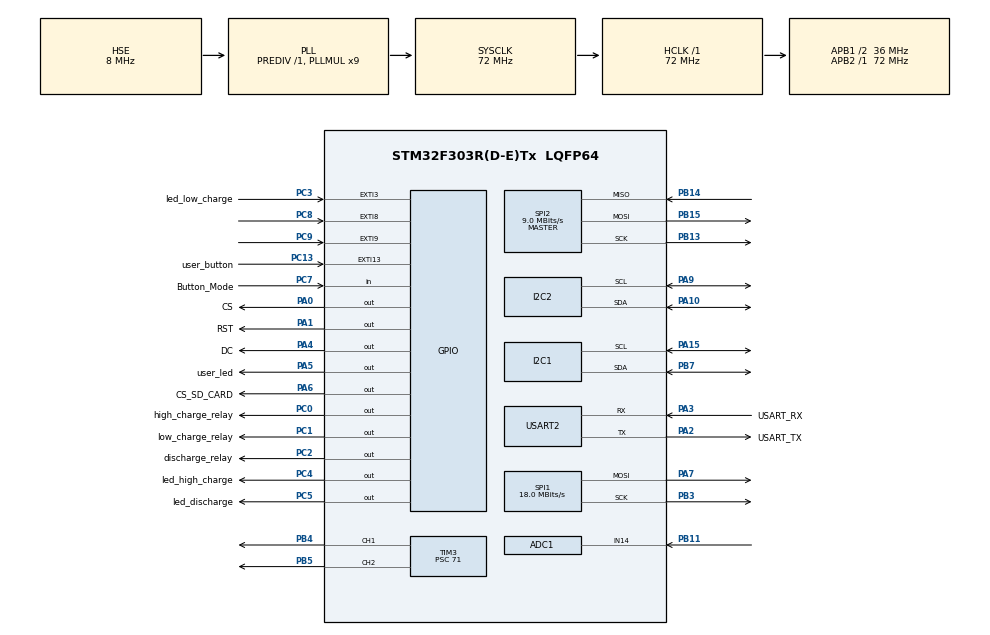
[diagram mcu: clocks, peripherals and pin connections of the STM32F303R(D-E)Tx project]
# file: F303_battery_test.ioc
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ADC1.Channel-0\#ChannelRegularConversion=ADC_CHANNEL_14
ADC1.ContinuousConvMode=ENABLE
ADC1.NbrOfConversionFlag=1
ADC1.Offset-0\#ChannelRegularConversion=0
ADC1.OffsetNumber-0\#ChannelRegularConversion=ADC_OFFSET_NONE
ADC1.Rank-0\#ChannelRegularConversion=1
ADC1.SamplingTime-0\#ChannelRegularConversion=ADC_SAMPLETIME_601CYCLES_5
ADC1.SamplingTimeOPAMP-0\#ChannelRegularConversion=ADC_SAMPLETIME_61CYCLES_5
ADC1.master=1
Dma.ADC1.0.Direction=DMA_PERIPH_TO_MEMORY
Dma.ADC1.0.Instance=DMA1_Channel1
Dma.ADC1.0.MemDataAlignment=DMA_MDATAALIGN_HALFWORD
Dma.ADC1.0.MemInc=DMA_MINC_ENABLE
Dma.ADC1.0.Mode=DMA_CIRCULAR
Dma.ADC1.0.PeriphDataAlignment=DMA_PDATAALIGN_HALFWORD
Dma.ADC1.0.PeriphInc=DMA_PINC_DISABLE
Dma.ADC1.0.Priority=DMA_PRIORITY_LOW
Dma.Request0=ADC1
FATFS._MAX_SS=4096
FATFS._USE_LFN=1
Mcu.Family=STM32F3
Mcu.Name=STM32F303R(D-E)Tx
Mcu.Package=LQFP64
NVIC.DMA1_Channel1_IRQn=true\:0\:0\:false\:false\:true\:false\:true\:true
NVIC.EXTI15_10_IRQn=true\:0\:0\:false\:false\:true\:true\:true\:true
NVIC.EXTI9_5_IRQn=true\:0\:0\:false\:false\:true\:true\:true\:true
NVIC.I2C2_ER_IRQn=true\:0\:0\:false\:false\:true\:true\:true\:true
NVIC.I2C2_EV_IRQn=true\:0\:0\:false\:false\:true\:true\:true\:true
NVIC.PriorityGroup=NVIC_PRIORITYGROUP_0
NVIC.SPI1_IRQn=true\:0\:0\:false\:false\:true\:true\:true\:true
NVIC.SPI2_IRQn=true\:0\:0\:false\:false\:true\:true\:true\:true
NVIC.TIM6_DAC_IRQn=true\:0\:0\:false\:false\:true\:true\:true\:true
NVIC.TIM7_IRQn=true\:0\:0\:false\:false\:true\:true\:true\:true
PA0.GPIO_Label=CS
PA0.Signal=GPIO_Output
PA1.GPIO_Label=RST
PA1.Signal=GPIO_Output
PA10.Mode=I2C
PA10.Signal=I2C2_SDA
PA13.GPIO_Label=TMS
PA13.Mode=Serial_Wire
PA13.Signal=SYS_JTMS-SWDIO
PA14.GPIO_Label=TCK
PA14.Mode=Serial_Wire
PA14.Signal=SYS_JTCK-SWCLK
PA15.Mode=I2C
PA15.Signal=I2C1_SCL
PA2.GPIO_Label=USART_TX
PA2.GPIO_Mode=GPIO_MODE_AF_PP
PA2.GPIO_PuPd=GPIO_NOPULL
PA2.GPIO_Speed=GPIO_SPEED_FREQ_LOW
PA2.Mode=Asynchronous
PA2.Signal=USART2_TX
PA3.GPIO_Label=USART_RX
PA3.GPIO_Mode=GPIO_MODE_AF_PP
PA3.GPIO_PuPd=GPIO_NOPULL
PA3.GPIO_Speed=GPIO_SPEED_FREQ_LOW
PA3.Mode=Asynchronous
PA3.Signal=USART2_RX
PA4.GPIO_Label=DC
PA4.Signal=GPIO_Output
PA5.GPIO_Label=user_led
PA5.GPIO_Mode=GPIO_MODE_OUTPUT_PP
PA5.GPIO_PuPd=GPIO_NOPULL
PA5.GPIO_Speed=GPIO_SPEED_FREQ_LOW
PA5.Signal=GPIO_Output
PA6.GPIO_Label=CS_SD_CARD
PA6.Signal=GPIO_Output
PA7.Mode=TX_Only_Simplex_Unidirect_Master
PA7.Signal=SPI1_MOSI
PA9.Mode=I2C
PA9.Signal=I2C2_SCL
PB11.Mode=IN14-Single-Ended
PB11.Signal=ADC1_IN14
PB13.Mode=Full_Duplex_Master
PB13.Signal=SPI2_SCK
PB14.Mode=Full_Duplex_Master
PB14.Signal=SPI2_MISO
PB15.Mode=Full_Duplex_Master
PB15.Signal=SPI2_MOSI
PB3.Mode=TX_Only_Simplex_Unidirect_Master
PB3.Signal=SPI1_SCK
PB4.Signal=S_TIM3_CH1
PB5.Signal=S_TIM3_CH2
PB7.Mode=I2C
PB7.Signal=I2C1_SDA
PC0.GPIO_Label=high_charge_relay
PC0.Signal=GPIO_Output
PC1.GPIO_Label=low_charge_relay
PC1.Signal=GPIO_Output
PC13.GPIO_Label=user_button
PC13.GPIO_ModeDefaultEXTI=GPIO_MODE_IT_FALLING
PC13.Signal=GPXTI13
PC14-OSC32_IN.Signal=RCC_OSC32_IN
PC15-OSC32_OUT.Signal=RCC_OSC32_OUT
PC2.GPIO_Label=discharge_relay
PC2.Signal=GPIO_Output
PC3.GPIO_Label=led_low_charge
PC3.Signal=GPXTI3
PC4.GPIO_Label=led_high_charge
PC4.Signal=GPIO_Output
PC5.GPIO_Label=led_discharge
PC5.Signal=GPIO_Output
PC7.GPIO_Label=Button_Mode
PC7.GPIO_PuPd=GPIO_PULLUP
PC7.Signal=GPIO_Input
PC8.GPIO_ModeDefaultEXTI=GPIO_MODE_IT_RISING
PC8.Signal=GPXTI8
PC9.GPIO_ModeDefaultEXTI=GPIO_MODE_IT_RISING
PC9.Signal=GPXTI9
PF0-OSC_IN.Mode=HSE-External-Oscillator
PF0-OSC_IN.Signal=RCC_OSC_IN
PF1-OSC_OUT.Mode=HSE-External-Oscillator
PF1-OSC_OUT.Signal=RCC_OSC_OUT
ProjectManager.HeapSize=0x200
ProjectManager.StackSize=0x400
ProjectManager.TargetToolchain=STM32CubeIDE
RCC.AHBFreq_Value=72000000
RCC.APB1CLKDivider=RCC_HCLK_DIV2
RCC.APB1Freq_Value=36000000
RCC.APB1TimFreq_Value=72000000
RCC.APB2Freq_Value=72000000
RCC.APB2TimFreq_Value=72000000
RCC.CortexFreq_Value=72000000
RCC.HCLKFreq_Value=72000000
RCC.HSE_VALUE=8000000
RCC.HSI_VALUE=8000000
RCC.LSE_VALUE=32768
RCC.PLLM=8
RCC.PLLMUL=RCC_PLL_MUL9
RCC.PLLN=336
RCC.PLLP=RCC_PLLP_DIV4
RCC.PLLQ=7
RCC.PLLSourceVirtual=RCC_PLLSOURCE_HSE
RCC.RCC_PLLsource_Clock_Source_FROM_HSE=RCC_HSE_PREDIV_DIV2
RCC.SYSCLKFreq_VALUE=72000000
RCC.SYSCLKSourceVirtual=RCC_SYSCLKSOURCE_PLLCLK
RCC.USBFreq_Value=72000000
SH.S_TIM3_CH1.0=TIM3_CH1,PWM Generation1 CH1
SH.S_TIM3_CH2.0=TIM3_CH2,PWM Generation2 CH2
SPI1.BaudRatePrescaler=SPI_BAUDRATEPRESCALER_4
SPI1.CalculateBaudRate=18.0 MBits/s
SPI1.DataSize=SPI_DATASIZE_8BIT
SPI1.Direction=SPI_DIRECTION_2LINES
SPI1.Mode=SPI_MODE_MASTER
SPI1.VirtualType=VM_MASTER
SPI2.BaudRatePrescaler=SPI_BAUDRATEPRESCALER_4
SPI2.CalculateBaudRate=9.0 MBits/s
SPI2.DataSize=SPI_DATASIZE_8BIT
SPI2.Direction=SPI_DIRECTION_2LINES
SPI2.Mode=SPI_MODE_MASTER
SPI2.VirtualType=VM_MASTER
TIM3.Channel-PWM\ Generation1\ CH1=TIM_CHANNEL_1
TIM3.Channel-PWM\ Generation2\ CH2=TIM_CHANNEL_2
TIM3.Period=1000
TIM3.Prescaler=71
TIM6.Period=10
TIM6.Prescaler=71
TIM7.AutoReloadPreload=TIM_AUTORELOAD_PRELOAD_ENABLE
TIM7.Period=10000
TIM7.Prescaler=7199
USART2.VirtualMode-Asynchronous=VM_ASYNC
VP_FATFS_VS_Generic.Mode=User_defined
VP_TIM3_VS_ClockSourceINT.Mode=Internal
VP_TIM6_VS_ClockSourceINT.Mode=Enable_Timer
VP_TIM7_VS_ClockSourceINT.Mode=Enable_Timer
board=NUCLEO-F303RE

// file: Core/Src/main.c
/* USER CODE BEGIN Header */
/**
  ******************************************************************************
  * @file           : main.c
  * @brief          : Main program body
  ******************************************************************************
  * @attention
  *
  * Copyright (c) 2022 STMicroelectronics.
  * All rights reserved.
  *
  * This software is licensed under terms that can be found in the LICENSE file
  * in the root directory of this software component.
  * If no LICENSE file comes with this software, it is provided AS-IS.
  *
  ******************************************************************************
  */
/* USER CODE END Header */
#include "main.h"
#include "fatfs.h"

/* USER CODE BEGIN Includes */
#include <stdio.h>
#include <stdbool.h>
#include "GMG12864_lib.h"
#include "INA219_lib.h"
#include "fatfs_sd.h"
#include "string.h"
#include "max_ds3231_lib.h"
#include "SMA_filter_lib.h"
/* USER CODE END Includes */

/* USER CODE BEGIN PD */

#define high_charge_on() (WRITE_REG(GPIOC->BSRR, GPIO_BSRR_BS_0))
#define low_charge_on() (WRITE_REG(GPIOC->BSRR, GPIO_BSRR_BS_1))
#define discharge_on() (WRITE_REG(GPIOC->BSRR, GPIO_BSRR_BS_2))
#define high_charge_off() (WRITE_REG(GPIOC->BSRR, GPIO_BSRR_BR_0))
#define low_charge_off() (WRITE_REG(GPIOC->BSRR, GPIO_BSRR_BR_1))
#define discharge_off() (WRITE_REG(GPIOC->BSRR, GPIO_BSRR_BR_2))
#define read_state_of_high_charge() (READ_BIT(GPIOC->IDR, GPIO_IDR_0))
#define read_state_of_low_charge() (READ_BIT(GPIOC->IDR, GPIO_IDR_1))
#define read_state_of_discharge() (READ_BIT(GPIOC->IDR,GPIO_IDR_2))
#define ADC_MAX 0xFFF
#define BATTERY_LOW_LIMIT 5100U
#define BATTERY_MEDIUM_LIMIT 7100U
#define BATTERY_HIGH_LIMIT 7300U
#define reaction 10
#define scroll 50
#define DELAY_LOW_CHARGE_IN_SEC 160U
/* USER CODE END PD */

ADC_HandleTypeDef hadc1;
DMA_HandleTypeDef hdma_adc1;

I2C_HandleTypeDef hi2c1;
I2C_HandleTypeDef hi2c2;

SPI_HandleTypeDef hspi1;
SPI_HandleTypeDef hspi2;

TIM_HandleTypeDef htim3;
TIM_HandleTypeDef htim6;
TIM_HandleTypeDef htim7;

UART_HandleTypeDef huart2;

/* USER CODE BEGIN PV */
volatile int8_t A = 0;
volatile uint8_t status, status_old = 0x00;
volatile unsigned long Time, Time_old = 0;

volatile bool ERROR_GMG12864 = 0;
volatile bool ERROR_SD_CARD = 0;
volatile bool ERROR_INA219 = 0;
volatile bool ERROR_DS3231 = 0;

FATFS fs;
FIL fil;
FRESULT fresult;
char buffer_sd_card[1024];
uint16_t br, bw;
uint16_t counter_sd_card = 0;
uint16_t sd_card_execution_time = 0;
uint16_t t_sd_card_ex_time_start = 0;
uint16_t t_sd_card_ex_time_stop = 0;

INA219_t ina219;
extern char tx_buffer[128];
volatile bool ina219_flag = 0;
uint16_t v_bus, v_shunt, current, power;
volatile uint8_t display_mode = 0;
unsigned long t_ina219 = 0;
unsigned long t_gmg12864 = 0;
unsigned long t_sd_card = 0;
unsigned long t_button_mode_led = 0;
bool state_high_charge = 0;
bool state_low_charge = 0;
bool state_discharge = 0;
bool discharge_enable = 0;
volatile bool control_mode = 1;
uint8_t manual_mode = 0;
volatile bool flag_change_mode = 0;

extern uint8_t Seconds;
extern uint8_t Minutes;
extern uint8_t Hours;
extern uint8_t Day;
extern uint8_t Date;
extern uint8_t Month;
extern uint8_t Cuntury;
extern uint16_t Year;
extern float max_ds3231_temp;
unsigned long t_ds3231 = 0;

unsigned long t_init_gmg12864 = 0;
float Sensitivity = 0.066f;
float RawVoltage = 0.0f;
float Current_ASC712 = 0.0f;
extern bool adc_flag;
extern uint16_t ADC_SMA_Data_1;
extern uint16_t ADC_SMA_Data_2;
float filtered_voltage = 0.0f;

enum  Mode{HIGH_CHARGE, LOW_CHARGE, DISCHARGE};
uint8_t Current_Mode = 0;
uint8_t Prev_Mode = 2;

volatile uint16_t tim7_counter = 0;

float capacity = 0.0f;
bool capacity_flag = 0;
bool capacity_timer_flag_1 = 1;
uint32_t t_capacity = 0;
uint32_t time_start = 0;
uint32_t time_stop = 0;
uint32_t time_of_discharge_in_min = 0;
uint32_t discharge_time_min = 0;
uint32_t discharge_time_max = 0;
uint32_t time_of_discharge_in_min = 0;
uint32_t discharge_time_min = 0;
uint32_t discharge_time_max = 0;
uint32_t time_of_discharge_in_min = 0;
uint32_t discharge_time_min = 0;
uint32_t discharge_time_max = 0;

float time_discharge = 0;

/* USER CODE END PV */

void SystemClock_Config(void);
static void MX_GPIO_Init(void);
static void MX_DMA_Init(void);
static void MX_USART2_UART_Init(void);
static void MX_SPI1_Init(void);
static void MX_I2C1_Init(void);
static void MX_SPI2_Init(void);
static void MX_I2C2_Init(void);
static void MX_ADC1_Init(void);
static void MX_TIM6_Init(void);
static void MX_TIM3_Init(void);
static void MX_TIM7_Init(void);
/* USER CODE BEGIN PFP */
void automatik_mode(void);
void get_param_from_ina219(void);
void mode_change_func(void);
void manual_mode_func(void);
void read_state_of_relays(void);
void print_gmg12864_level_1(void);
void GMG12864_first_line_level_1(uint8_t x, uint8_t y);
void GMG12864_second_line_level_1(uint8_t x, uint8_t y);
void GMG12864_third_line_level_1(uint8_t x, uint8_t y);
void GMG12864_fourth_line_level_1(uint8_t x, uint8_t y);
void GMG12864_fifth_line_level_1(uint8_t x, uint8_t y);
void GMG12864_sixth_line_level_1(uint8_t x, uint8_t y);
void GMG12864_first_line_level_2(uint8_t x, uint8_t y);
void GMG12864_second_line_level_2(uint8_t x, uint8_t y);
void GMG12864_third_line_level_2(uint8_t x, uint8_t y);
void GMG12864_fourth_line_level_2(uint8_t x, uint8_t y);
void GMG12864_fifth_line_level_2(uint8_t x, uint8_t y);
void GMG12864_sixth_line_level_2(uint8_t x, uint8_t y);
void GMG12864_first_line_level_3(uint8_t x, uint8_t y);
void GMG12864_second_line_level_3(uint8_t x, uint8_t y);
void GMG12864_third_line_level_3(uint8_t x, uint8_t y);
void GMG12864_fourth_line_level_3(uint8_t x, uint8_t y);
void GMG12864_fifth_line_level_3(uint8_t x, uint8_t y);
void GMG12864_sixth_line_level_3(uint8_t x, uint8_t y);
void sd_card_write(void);
void ds3231_get_time_and_temp(void);
float get_current_ASC712(void);
void button_mode_func(void);
void button_mode_led_delay(void);
void tim7_start(void);
void tim7_stop(void);
void get_capacity_of_battery(void);
void start_capacity_timer(void);
void stop_capacity_timer(void);
/* USER CODE END PFP */

int main(void)
{

  /* MCU Configuration--------------------------------------------------------*/

  /* Reset of all peripherals, Initializes the Flash interface and the Systick. */
  HAL_Init();

  /* Configure the system clock */
  SystemClock_Config();

  /* Initialize all configured peripherals */
  MX_GPIO_Init();
  MX_DMA_Init();
  MX_USART2_UART_Init();
  MX_SPI1_Init();
  MX_I2C1_Init();
  MX_SPI2_Init();
  MX_FATFS_Init();
  MX_I2C2_Init();
  MX_ADC1_Init();
  MX_TIM6_Init();
  MX_TIM3_Init();
  MX_TIM7_Init();
  /* USER CODE BEGIN 2 */
  HAL_Delay(100);
  GMG12864_Init();
  GMG12864_logo_demonstration();
  HAL_Delay(2000);
  INA219_Init(&ina219, &hi2c1, INA219_ADDRESS);
  t_ina219 = HAL_GetTick();
  t_gmg12864 = HAL_GetTick();
  t_sd_card = HAL_GetTick();
  t_ds3231 = HAL_GetTick();
  t_init_gmg12864 = HAL_GetTick();
  t_button_mode_led = HAL_GetTick();
  t_capacity = HAL_GetTick();
 // max_ds3231_set_hours(7);
  //max_ds3231_set_minutes(38);
  //max_ds3231_set_seconds(0);
  //max_ds3231_set_day(1);
  HAL_TIM_Base_Start_IT(&htim6);
  HAL_TIM_PWM_Start(&htim3, TIM_CHANNEL_1);
  HAL_TIM_PWM_Start(&htim3, TIM_CHANNEL_2);
  TIM3->CCR1 = 0;
  TIM3->CCR2 = 0;
  HAL_Delay(500);
  if((fresult = f_mount(&fs, "", 0)) != FR_OK){
	  sprintf(buffer_sd_card, "Card is not detected!!");
	  WRITE_REG(GPIOA->BSRR, GPIO_BSRR_BS_5);
	  GMG12864_third_line_level_1(0, 0);
	  HAL_Delay(2000);
  }

  /* USER CODE END 2 */

  /* Infinite loop */
  /* USER CODE BEGIN WHILE */
  while (1)
  {
	  read_state_of_relays();
	  get_param_from_ina219();
	  ds3231_get_time_and_temp();
	  automatik_mode();
	  manual_mode_func();
	  mode_change_func();
	  print_gmg12864_level_1();
	  sd_card_write();
	  button_mode_func();
	  Current_ASC712 = get_current_ASC712();
	  get_capacity_of_battery();
	  if(HAL_GetTick() - t_init_gmg12864 > 100000){
		  t_init_gmg12864 = HAL_GetTick();
		  GMG12864_Init();
	  }
    /* USER CODE END WHILE */

  }
}

void SystemClock_Config(void)
{
  RCC_OscInitTypeDef RCC_OscInitStruct = {0};
  RCC_ClkInitTypeDef RCC_ClkInitStruct = {0};
  RCC_PeriphCLKInitTypeDef PeriphClkInit = {0};

  /** Initializes the RCC Oscillators according to the specified parameters
  * in the RCC_OscInitTypeDef structure.
  */
  RCC_OscInitStruct.OscillatorType = RCC_OSCILLATORTYPE_HSI|RCC_OSCILLATORTYPE_HSE;
  RCC_OscInitStruct.HSEState = RCC_HSE_ON;
  RCC_OscInitStruct.HSIState = RCC_HSI_ON;
  RCC_OscInitStruct.HSICalibrationValue = RCC_HSICALIBRATION_DEFAULT;
  RCC_OscInitStruct.PLL.PLLState = RCC_PLL_ON;
  RCC_OscInitStruct.PLL.PLLSource = RCC_PLLSOURCE_HSE;
  RCC_OscInitStruct.PLL.PLLMUL = RCC_PLL_MUL9;
  RCC_OscInitStruct.PLL.PREDIV = RCC_PREDIV_DIV1;
  if (HAL_RCC_OscConfig(&RCC_OscInitStruct) != HAL_OK)
  {
    Error_Handler();
  }

  /** Initializes the CPU, AHB and APB buses clocks
  */
  RCC_ClkInitStruct.ClockType = RCC_CLOCKTYPE_HCLK|RCC_CLOCKTYPE_SYSCLK
                              |RCC_CLOCKTYPE_PCLK1|RCC_CLOCKTYPE_PCLK2;
  RCC_ClkInitStruct.SYSCLKSource = RCC_SYSCLKSOURCE_PLLCLK;
  RCC_ClkInitStruct.AHBCLKDivider = RCC_SYSCLK_DIV1;
  RCC_ClkInitStruct.APB1CLKDivider = RCC_HCLK_DIV2;
  RCC_ClkInitStruct.APB2CLKDivider = RCC_HCLK_DIV1;

  if (HAL_RCC_ClockConfig(&RCC_ClkInitStruct, FLASH_LATENCY_2) != HAL_OK)
  {
    Error_Handler();
  }
  PeriphClkInit.PeriphClockSelection = RCC_PERIPHCLK_USART2|RCC_PERIPHCLK_I2C1
                              |RCC_PERIPHCLK_I2C2|RCC_PERIPHCLK_ADC12
                              |RCC_PERIPHCLK_TIM34;
  PeriphClkInit.Usart2ClockSelection = RCC_USART2CLKSOURCE_PCLK1;
  PeriphClkInit.Adc12ClockSelection = RCC_ADC12PLLCLK_DIV1;
  PeriphClkInit.I2c1ClockSelection = RCC_I2C1CLKSOURCE_HSI;
  PeriphClkInit.I2c2ClockSelection = RCC_I2C2CLKSOURCE_HSI;
  PeriphClkInit.Tim34ClockSelection = RCC_TIM34CLK_HCLK;
  if (HAL_RCCEx_PeriphCLKConfig(&PeriphClkInit) != HAL_OK)
  {
    Error_Handler();
  }
}

static void MX_ADC1_Init(void)
{

  ADC_MultiModeTypeDef multimode = {0};
  ADC_ChannelConfTypeDef sConfig = {0};

  /** Common config
  */
  hadc1.Instance = ADC1;
  hadc1.Init.ClockPrescaler = ADC_CLOCK_ASYNC_DIV1;
  hadc1.Init.Resolution = ADC_RESOLUTION_12B;
  hadc1.Init.ScanConvMode = ADC_SCAN_DISABLE;
  hadc1.Init.ContinuousConvMode = ENABLE;
  hadc1.Init.DiscontinuousConvMode = DISABLE;
  hadc1.Init.ExternalTrigConvEdge = ADC_EXTERNALTRIGCONVEDGE_NONE;
  hadc1.Init.ExternalTrigConv = ADC_SOFTWARE_START;
  hadc1.Init.DataAlign = ADC_DATAALIGN_RIGHT;
  hadc1.Init.NbrOfConversion = 1;
  hadc1.Init.DMAContinuousRequests = DISABLE;
  hadc1.Init.EOCSelection = ADC_EOC_SINGLE_CONV;
  hadc1.Init.LowPowerAutoWait = DISABLE;
  hadc1.Init.Overrun = ADC_OVR_DATA_OVERWRITTEN;
  if (HAL_ADC_Init(&hadc1) != HAL_OK)
  {
    Error_Handler();
  }

  /** Configure the ADC multi-mode
  */
  multimode.Mode = ADC_MODE_INDEPENDENT;
  if (HAL_ADCEx_MultiModeConfigChannel(&hadc1, &multimode) != HAL_OK)
  {
    Error_Handler();
  }

  /** Configure Regular Channel
  */
  sConfig.Channel = ADC_CHANNEL_14;
  sConfig.Rank = ADC_REGULAR_RANK_1;
  sConfig.SingleDiff = ADC_SINGLE_ENDED;
  sConfig.SamplingTime = ADC_SAMPLETIME_601CYCLES_5;
  sConfig.OffsetNumber = ADC_OFFSET_NONE;
  sConfig.Offset = 0;
  if (HAL_ADC_ConfigChannel(&hadc1, &sConfig) != HAL_OK)
  {
    Error_Handler();
  }

}

static void MX_I2C1_Init(void)
{

  hi2c1.Instance = I2C1;
  hi2c1.Init.Timing = 0x2000090E;
  hi2c1.Init.OwnAddress1 = 0;
  hi2c1.Init.AddressingMode = I2C_ADDRESSINGMODE_7BIT;
  hi2c1.Init.DualAddressMode = I2C_DUALADDRESS_DISABLE;
  hi2c1.Init.OwnAddress2 = 0;
  hi2c1.Init.OwnAddress2Masks = I2C_OA2_NOMASK;
  hi2c1.Init.GeneralCallMode = I2C_GENERALCALL_DISABLE;
  hi2c1.Init.NoStretchMode = I2C_NOSTRETCH_DISABLE;
  if (HAL_I2C_Init(&hi2c1) != HAL_OK)
  {
    Error_Handler();
  }

  /** Configure Analogue filter
  */
  if (HAL_I2CEx_ConfigAnalogFilter(&hi2c1, I2C_ANALOGFILTER_ENABLE) != HAL_OK)
  {
    Error_Handler();
  }

  /** Configure Digital filter
  */
  if (HAL_I2CEx_ConfigDigitalFilter(&hi2c1, 0) != HAL_OK)
  {
    Error_Handler();
  }

}

static void MX_I2C2_Init(void)
{

  hi2c2.Instance = I2C2;
  hi2c2.Init.Timing = 0x2000090E;
  hi2c2.Init.OwnAddress1 = 0;
  hi2c2.Init.AddressingMode = I2C_ADDRESSINGMODE_7BIT;
  hi2c2.Init.DualAddressMode = I2C_DUALADDRESS_DISABLE;
  hi2c2.Init.OwnAddress2 = 0;
  hi2c2.Init.OwnAddress2Masks = I2C_OA2_NOMASK;
  hi2c2.Init.GeneralCallMode = I2C_GENERALCALL_DISABLE;
  hi2c2.Init.NoStretchMode = I2C_NOSTRETCH_DISABLE;
  if (HAL_I2C_Init(&hi2c2) != HAL_OK)
  {
    Error_Handler();
  }

  /** Configure Analogue filter
  */
  if (HAL_I2CEx_ConfigAnalogFilter(&hi2c2, I2C_ANALOGFILTER_ENABLE) != HAL_OK)
  {
    Error_Handler();
  }

  /** Configure Digital filter
  */
  if (HAL_I2CEx_ConfigDigitalFilter(&hi2c2, 0) != HAL_OK)
  {
    Error_Handler();
  }

}

static void MX_SPI1_Init(void)
{

  /* SPI1 parameter configuration*/
  hspi1.Instance = SPI1;
  hspi1.Init.Mode = SPI_MODE_MASTER;
  hspi1.Init.Direction = SPI_DIRECTION_2LINES;
  hspi1.Init.DataSize = SPI_DATASIZE_8BIT;
  hspi1.Init.CLKPolarity = SPI_POLARITY_LOW;
  hspi1.Init.CLKPhase = SPI_PHASE_1EDGE;
  hspi1.Init.NSS = SPI_NSS_SOFT;
  hspi1.Init.BaudRatePrescaler = SPI_BAUDRATEPRESCALER_4;
  hspi1.Init.FirstBit = SPI_FIRSTBIT_MSB;
  hspi1.Init.TIMode = SPI_TIMODE_DISABLE;
  hspi1.Init.CRCCalculation = SPI_CRCCALCULATION_DISABLE;
  hspi1.Init.CRCPolynomial = 7;
  hspi1.Init.CRCLength = SPI_CRC_LENGTH_DATASIZE;
  hspi1.Init.NSSPMode = SPI_NSS_PULSE_ENABLE;
  if (HAL_SPI_Init(&hspi1) != HAL_OK)
  {
    Error_Handler();
  }

}

static void MX_SPI2_Init(void)
{

  /* SPI2 parameter configuration*/
  hspi2.Instance = SPI2;
  hspi2.Init.Mode = SPI_MODE_MASTER;
  hspi2.Init.Direction = SPI_DIRECTION_2LINES;
  hspi2.Init.DataSize = SPI_DATASIZE_8BIT;
  hspi2.Init.CLKPolarity = SPI_POLARITY_LOW;
  hspi2.Init.CLKPhase = SPI_PHASE_1EDGE;
  hspi2.Init.NSS = SPI_NSS_SOFT;
  hspi2.Init.BaudRatePrescaler = SPI_BAUDRATEPRESCALER_4;
  hspi2.Init.FirstBit = SPI_FIRSTBIT_MSB;
  hspi2.Init.TIMode = SPI_TIMODE_DISABLE;
  hspi2.Init.CRCCalculation = SPI_CRCCALCULATION_DISABLE;
  hspi2.Init.CRCPolynomial = 7;
  hspi2.Init.CRCLength = SPI_CRC_LENGTH_DATASIZE;
  hspi2.Init.NSSPMode = SPI_NSS_PULSE_ENABLE;
  if (HAL_SPI_Init(&hspi2) != HAL_OK)
  {
    Error_Handler();
  }

}

static void MX_TIM3_Init(void)
{

  TIM_ClockConfigTypeDef sClockSourceConfig = {0};
  TIM_MasterConfigTypeDef sMasterConfig = {0};
  TIM_OC_InitTypeDef sConfigOC = {0};

  htim3.Instance = TIM3;
  htim3.Init.Prescaler = 71;
  htim3.Init.CounterMode = TIM_COUNTERMODE_UP;
  htim3.Init.Period = 1000;
  htim3.Init.ClockDivision = TIM_CLOCKDIVISION_DIV1;
  htim3.Init.AutoReloadPreload = TIM_AUTORELOAD_PRELOAD_DISABLE;
  if (HAL_TIM_Base_Init(&htim3) != HAL_OK)
  {
    Error_Handler();
  }
  sClockSourceConfig.ClockSource = TIM_CLOCKSOURCE_INTERNAL;
  if (HAL_TIM_ConfigClockSource(&htim3, &sClockSourceConfig) != HAL_OK)
  {
    Error_Handler();
  }
  if (HAL_TIM_PWM_Init(&htim3) != HAL_OK)
  {
    Error_Handler();
  }
  sMasterConfig.MasterOutputTrigger = TIM_TRGO_RESET;
  sMasterConfig.MasterSlaveMode = TIM_MASTERSLAVEMODE_DISABLE;
  if (HAL_TIMEx_MasterConfigSynchronization(&htim3, &sMasterConfig) != HAL_OK)
  {
    Error_Handler();
  }
  sConfigOC.OCMode = TIM_OCMODE_PWM1;
  sConfigOC.Pulse = 0;
  sConfigOC.OCPolarity = TIM_OCPOLARITY_HIGH;
  sConfigOC.OCFastMode = TIM_OCFAST_DISABLE;
  if (HAL_TIM_PWM_ConfigChannel(&htim3, &sConfigOC, TIM_CHANNEL_1) != HAL_OK)
  {
    Error_Handler();
  }
  if (HAL_TIM_PWM_ConfigChannel(&htim3, &sConfigOC, TIM_CHANNEL_2) != HAL_OK)
  {
    Error_Handler();
  }
  HAL_TIM_MspPostInit(&htim3);

}

static void MX_TIM6_Init(void)
{

  TIM_MasterConfigTypeDef sMasterConfig = {0};

  htim6.Instance = TIM6;
  htim6.Init.Prescaler = 71;
  htim6.Init.CounterMode = TIM_COUNTERMODE_UP;
  htim6.Init.Period = 10;
  htim6.Init.AutoReloadPreload = TIM_AUTORELOAD_PRELOAD_DISABLE;
  if (HAL_TIM_Base_Init(&htim6) != HAL_OK)
  {
    Error_Handler();
  }
  sMasterConfig.MasterOutputTrigger = TIM_TRGO_RESET;
  sMasterConfig.MasterSlaveMode = TIM_MASTERSLAVEMODE_DISABLE;
  if (HAL_TIMEx_MasterConfigSynchronization(&htim6, &sMasterConfig) != HAL_OK)
  {
    Error_Handler();
  }

}

static void MX_TIM7_Init(void)
{

  TIM_MasterConfigTypeDef sMasterConfig = {0};

  htim7.Instance = TIM7;
  htim7.Init.Prescaler = 7199;
  htim7.Init.CounterMode = TIM_COUNTERMODE_UP;
  htim7.Init.Period = 10000;
  htim7.Init.AutoReloadPreload = TIM_AUTORELOAD_PRELOAD_ENABLE;
  if (HAL_TIM_Base_Init(&htim7) != HAL_OK)
  {
    Error_Handler();
  }
  sMasterConfig.MasterOutputTrigger = TIM_TRGO_RESET;
  sMasterConfig.MasterSlaveMode = TIM_MASTERSLAVEMODE_DISABLE;
  if (HAL_TIMEx_MasterConfigSynchronization(&htim7, &sMasterConfig) != HAL_OK)
  {
    Error_Handler();
  }

}

static void MX_USART2_UART_Init(void)
{

  huart2.Instance = USART2;
  huart2.Init.BaudRate = 38400;
  huart2.Init.WordLength = UART_WORDLENGTH_8B;
  huart2.Init.StopBits = UART_STOPBITS_1;
  huart2.Init.Parity = UART_PARITY_NONE;
  huart2.Init.Mode = UART_MODE_TX_RX;
  huart2.Init.HwFlowCtl = UART_HWCONTROL_NONE;
  huart2.Init.OverSampling = UART_OVERSAMPLING_16;
  huart2.Init.OneBitSampling = UART_ONE_BIT_SAMPLE_DISABLE;
  huart2.AdvancedInit.AdvFeatureInit = UART_ADVFEATURE_NO_INIT;
  if (HAL_UART_Init(&huart2) != HAL_OK)
  {
    Error_Handler();
  }

}

static void MX_DMA_Init(void)
{

  /* DMA controller clock enable */
  __HAL_RCC_DMA1_CLK_ENABLE();

  /* DMA interrupt init */
  /* DMA1_Channel1_IRQn interrupt configuration */
  HAL_NVIC_SetPriority(DMA1_Channel1_IRQn, 0, 0);
  HAL_NVIC_EnableIRQ(DMA1_Channel1_IRQn);

}

static void MX_GPIO_Init(void)
{
  GPIO_InitTypeDef GPIO_InitStruct = {0};

  /* GPIO Ports Clock Enable */
  __HAL_RCC_GPIOC_CLK_ENABLE();
  __HAL_RCC_GPIOF_CLK_ENABLE();
  __HAL_RCC_GPIOA_CLK_ENABLE();
  __HAL_RCC_GPIOB_CLK_ENABLE();

  /*Configure GPIO pin Output Level */
  HAL_GPIO_WritePin(GPIOC, high_charge_relay_Pin|low_charge_relay_Pin|discharge_relay_Pin|led_high_charge_Pin
                          |led_discharge_Pin, GPIO_PIN_RESET);

  /*Configure GPIO pin Output Level */
  HAL_GPIO_WritePin(GPIOA, CS_Pin|RST_Pin|DC_Pin|user_led_Pin
                          |CS_SD_CARD_Pin, GPIO_PIN_RESET);

  /*Configure GPIO pin : user_button_Pin */
  GPIO_InitStruct.Pin = user_button_Pin;
  GPIO_InitStruct.Mode = GPIO_MODE_IT_FALLING;
  GPIO_InitStruct.Pull = GPIO_NOPULL;
  HAL_GPIO_Init(user_button_GPIO_Port, &GPIO_InitStruct);

  /*Configure GPIO pins : high_charge_relay_Pin low_charge_relay_Pin discharge_relay_Pin led_high_charge_Pin
                           led_discharge_Pin */
  GPIO_InitStruct.Pin = high_charge_relay_Pin|low_charge_relay_Pin|discharge_relay_Pin|led_high_charge_Pin
                          |led_discharge_Pin;
  GPIO_InitStruct.Mode = GPIO_MODE_OUTPUT_PP;
  GPIO_InitStruct.Pull = GPIO_NOPULL;
  GPIO_InitStruct.Speed = GPIO_SPEED_FREQ_LOW;
  HAL_GPIO_Init(GPIOC, &GPIO_InitStruct);

  /*Configure GPIO pins : led_low_charge_Pin PC8 PC9 */
  GPIO_InitStruct.Pin = led_low_charge_Pin|GPIO_PIN_8|GPIO_PIN_9;
  GPIO_InitStruct.Mode = GPIO_MODE_IT_RISING;
  GPIO_InitStruct.Pull = GPIO_NOPULL;
  HAL_GPIO_Init(GPIOC, &GPIO_InitStruct);

  /*Configure GPIO pins : CS_Pin RST_Pin DC_Pin user_led_Pin
                           CS_SD_CARD_Pin */
  GPIO_InitStruct.Pin = CS_Pin|RST_Pin|DC_Pin|user_led_Pin
                          |CS_SD_CARD_Pin;
  GPIO_InitStruct.Mode = GPIO_MODE_OUTPUT_PP;
  GPIO_InitStruct.Pull = GPIO_NOPULL;
  GPIO_InitStruct.Speed = GPIO_SPEED_FREQ_LOW;
  HAL_GPIO_Init(GPIOA, &GPIO_InitStruct);

  /*Configure GPIO pin : Button_Mode_Pin */
  GPIO_InitStruct.Pin = Button_Mode_Pin;
  GPIO_InitStruct.Mode = GPIO_MODE_INPUT;
  GPIO_InitStruct.Pull = GPIO_PULLUP;
  HAL_GPIO_Init(Button_Mode_GPIO_Port, &GPIO_InitStruct);

  /* EXTI interrupt init*/
  HAL_NVIC_SetPriority(EXTI9_5_IRQn, 0, 0);
  HAL_NVIC_EnableIRQ(EXTI9_5_IRQn);

  HAL_NVIC_SetPriority(EXTI15_10_IRQn, 0, 0);
  HAL_NVIC_EnableIRQ(EXTI15_10_IRQn);

}

/* USER CODE BEGIN 4 */
void manual_mode_func(){
	if(!control_mode){
		TIM3->CCR1 = 1000;
		manual_mode = A;
		switch(manual_mode){
		case 0:
			high_charge_off();
			low_charge_off();
			discharge_off();
			break;
		case 1:
			high_charge_on();
			low_charge_off();
			discharge_off();
			break;
		case 2:
			high_charge_off();
			low_charge_on();
			discharge_off();
			break;
		case 3:
			high_charge_off();
			low_charge_off();
			discharge_on();
			break;
		}
	}
}

void automatik_mode(){
	if(control_mode){
		button_mode_led_delay();
		if(v_bus < BATTERY_LOW_LIMIT && (discharge_enable == 0) && (Prev_Mode == DISCHARGE)){
			low_charge_off();
			discharge_off();
			high_charge_on();
			Prev_Mode = HIGH_CHARGE;
		}
		else if((v_bus > BATTERY_MEDIUM_LIMIT) && (discharge_enable == 0) && (Prev_Mode == HIGH_CHARGE)){
			high_charge_off();
			discharge_off();
			low_charge_on();
			tim7_start();
			Prev_Mode = LOW_CHARGE;
			discharge_enable = 1;
			//if(v_bus >= BATTERY_HIGH_LIMIT){
				//discharge_enable = 1;
				//Prev_Mode = LOW_CHARGE;
			//}
		}
		if(discharge_enable && (Prev_Mode == LOW_CHARGE) && (tim7_counter >= DELAY_LOW_CHARGE_IN_SEC)){
			tim7_stop();
			low_charge_off();
			high_charge_off();
			discharge_on();
			start_capacity_timer();
			if(v_bus < BATTERY_LOW_LIMIT){
				stop_capacity_timer();
				discharge_enable = 0;
				Prev_Mode = DISCHARGE;
				tim7_counter = 0;
				capacity_flag = 1;
				capacity_timer_flag_1 = 1;
			}
		}
	}
}

void get_param_from_ina219(){
	if(ina219_flag){
		ina219_flag = 0;
		filtered_voltage = (float)ADC_SMA_Data_2;
		v_bus = INA219_ReadBusVoltage(&ina219);
		v_shunt = INA219_ReadShuntVoltage(&ina219);
		current = INA219_ReadCurrent(&ina219);
		power = INA219_Read_Power(&ina219);
	}
}

void HAL_GPIO_EXTI_Callback(uint16_t GPIO_Pin){
	if(GPIO_Pin == (0x2000)){
		//flag_change_mode = 1;
		if((display_mode < 3) && (display_mode >= 0)){
			display_mode += 1;
		}
		else{
			display_mode = 0;
		}
	}
	if(GPIO_Pin == GPIO_PIN_8){
		if (!(GPIOC->IDR & GPIO_PIN_8) && (!(GPIOC->IDR & GPIO_PIN_9))) {
			status = 0x00;
		} else if ((GPIOC->IDR & GPIO_PIN_8) && (!(GPIOC->IDR & GPIO_PIN_9))) {
			status = 0x10;
		} else if ((GPIOC->IDR & GPIO_PIN_8) && (GPIOC->IDR & GPIO_PIN_9)) {
			status = 0x11;
		} else if (!(GPIOC->IDR & GPIO_PIN_8) && (GPIOC->IDR & GPIO_PIN_9)) {
			status = 0x01;
		}

		if (status_old == 0x10 && status == 0x11) {
			Time = HAL_GetTick();
			if (Time - Time_old < reaction) {
				A = A + scroll;
				if(A > 3){
					A = 3;
				}
			} else {
				A = A + 1;
				if(A > 3){
					A = 3;
				}
			}
			Time_old = Time;
		} else if (status_old == 0x01 && status == 0x00) {
			Time = HAL_GetTick();
			if (Time - Time_old < reaction) {
				A = A + scroll;
				if(A > 3){
					A = 3;
				}
			} else {
				A = A + 1;
				if(A > 3){
					A = 3;
				}
			}
			Time_old = Time;
		}

		if (status_old == 0x11 && status == 0x10) {
			status_old = 0x10;

		} else if (status_old == 0x00 && status == 0x01) {
			status_old = 0x01;

		}

		else if (status_old == 0x10 && status == 0x00) {
			Time = HAL_GetTick();
			if (Time - Time_old < reaction) {
				A = A - scroll;
				if(A < 0){
					A = 0;
				}
			} else {
				A = A - 1;
				if(A < 0){
					A = 0;
				}
			}
			Time_old = Time;
		}

		else if (status_old == 0x01 && status == 0x11) {
			Time = HAL_GetTick();
			if (Time - Time_old < reaction) {
				A = A - scroll;
				if(A < 0){
					A = 0;
				}
			} else {
				A = A - 1;
				if(A < 0){
					A = 0;
				}
			}
			Time_old = Time;
		}
		status_old = status;
	}
	if(GPIO_Pin == GPIO_PIN_9){
		if (!(GPIOC->IDR & GPIO_PIN_8) && (!(GPIOC->IDR & GPIO_PIN_9))) {
			status = 0x00;
		} else if ((GPIOC->IDR & GPIO_PIN_8) && (!(GPIOC->IDR & GPIO_PIN_9))) {
			status = 0x10;
		} else if ((GPIOC->IDR & GPIO_PIN_8) && (GPIOC->IDR & GPIO_PIN_9)) {
			status = 0x11;
		} else if (!(GPIOC->IDR & GPIO_PIN_8) && (GPIOC->IDR & GPIO_PIN_9)) {
			status = 0x01;
		}

		if (status_old == 0x10 && status == 0x11) {
			Time = HAL_GetTick();
			if (Time - Time_old < reaction) {
				A = A + scroll;
				if(A > 3){
					A = 3;
				}
			} else {
				A = A + 1;
				if(A > 3){
					A = 3;
				}
			}
			Time_old = Time;
		} else if (status_old == 0x01 && status == 0x00) {
			Time = HAL_GetTick();
			if (Time - Time_old < reaction) {
				A = A + scroll;
				if(A > 3){
					A = 3;
				}
			} else {
				A = A + 1;
				if(A > 3){
					A = 3;
				}
			}
			Time_old = Time;
		}

		if (status_old == 0x11 && status == 0x10) {
			status_old = 0x10;

		} else if (status_old == 0x00 && status == 0x01) {
			status_old = 0x01;

		}

		else if (status_old == 0x10 && status == 0x00) {
			Time = HAL_GetTick();
			if (Time - Time_old < reaction) {
				A = A - scroll;
				if(A < 0){
					A = 0;
				}
			} else {
				A = A - 1;
				if(A < 0){
					A = 0;
				}
			}
			Time_old = Time;
		}

		else if (status_old == 0x01 && status == 0x11) {
			Time = HAL_GetTick();
			if (Time - Time_old < reaction) {
				A = A - scroll;
				if(A < 0){
					A = 0;
				}
			} else {
				A = A - 1;
				if(A < 0){
					A = 0;
				}
			}
			Time_old = Time;
		}
		status_old = status;
	}

}

void mode_change_func(){
	if(flag_change_mode){
		GMG12864_Clean_Frame_buffer();
		flag_change_mode = 0;
		high_charge_off();
		low_charge_off();
		discharge_off();
		A = 0;
		Prev_Mode = DISCHARGE;
	}
}

void button_mode_func(){
	if(!(READ_BIT(GPIOC->IDR, GPIO_IDR_7))){
		control_mode = 0;
	}
	else{
		control_mode = 1;
	}
}

void button_mode_led_delay(){
	if(control_mode){
		static uint16_t i = 0;
		static bool flag = 0;
		if((i <= 999) && (!flag) && (HAL_GetTick() - t_button_mode_led > 10)){
			t_button_mode_led = HAL_GetTick();
			i = 1000;
			TIM3->CCR1 = i;
			if(i == 1000){
				flag = 1;
			}
		}
		else if((flag == 1) && (HAL_GetTick() - t_button_mode_led > 10)){
			t_button_mode_led = HAL_GetTick();
			i = 0;
			TIM3->CCR1 = i;
			if(i <= 1){
				flag = 0;
			}
		}

	}
}

void read_state_of_relays(){
	state_high_charge = read_state_of_high_charge();
	state_low_charge = read_state_of_low_charge();
	state_discharge = read_state_of_discharge();
	if(state_high_charge){
		Current_Mode = HIGH_CHARGE;
	}
	else if(state_low_charge){
		Current_Mode = LOW_CHARGE;
	}
	else if(state_discharge){
		Current_Mode = DISCHARGE;
	}
}

void print_gmg12864_level_1(){
	if(((HAL_GetTick() - t_gmg12864) > 300) && (display_mode == 0)){
		t_gmg12864 = HAL_GetTick();
		GMG12864_first_line_level_1(0, 0);
		GMG12864_second_line_level_1(0, 10);
		GMG12864_third_line_level_1(0, 20);
		GMG12864_fourth_line_level_1(0, 30);
		GMG12864_fifth_line_level_1(0, 40);
		GMG12864_sixth_line_level_1(0, 50);
	}
	else if(((HAL_GetTick() - t_gmg12864) > 300) && (display_mode == 1)){
		t_gmg12864 = HAL_GetTick();
		GMG12864_first_line_level_2(0, 0);
		GMG12864_second_line_level_2(0, 10);
		GMG12864_third_line_level_2(0, 20);
		GMG12864_fourth_line_level_2(0, 30);
		GMG12864_fifth_line_level_2(0, 40);
		GMG12864_sixth_line_level_2(0, 50);
	}
	else if(((HAL_GetTick() - t_gmg12864) > 300) && (display_mode == 2)){
		t_gmg12864 = HAL_GetTick();
		GMG12864_first_line_level_3(0, 0);
		GMG12864_second_line_level_3(0, 10);
		GMG12864_third_line_level_3(0, 20);
		GMG12864_fourth_line_level_3(0, 30);
		GMG12864_fifth_line_level_3(0, 40);
		GMG12864_sixth_line_level_3(0, 50);
	}
}

void GMG12864_first_line_level_1(uint8_t x, uint8_t y){
	sprintf(tx_buffer, "Voltage is %d mV         ", v_bus);
	GMG12864_Decode_UTF8(x, y, 1, inversion_off, tx_buffer);
	GMG12864_Update();
}

void GMG12864_second_line_level_1(uint8_t x, uint8_t y){
	sprintf(tx_buffer, "Current is %.1f A    ", Current_ASC712);
	GMG12864_Decode_UTF8(x, y, 1, inversion_off, tx_buffer);
	GMG12864_Update();
}

void GMG12864_third_line_level_1(uint8_t x, uint8_t y){
	sprintf(tx_buffer, "discharge %d         ", state_discharge);
	GMG12864_Decode_UTF8(x, y, 1, inversion_off, tx_buffer);
	GMG12864_Update();
}

void GMG12864_fourth_line_level_1(uint8_t x, uint8_t y){
	sprintf(tx_buffer, "low charge %d         ", state_low_charge);
	GMG12864_Decode_UTF8(x, y, 1, inversion_off, tx_buffer);
	GMG12864_Update();
}

void GMG12864_fifth_line_level_1(uint8_t x, uint8_t y){
	sprintf(tx_buffer, "high charge %d         ", state_high_charge);
	GMG12864_Decode_UTF8(x, y, 1, inversion_off, tx_buffer);
	GMG12864_Update();
}

void GMG12864_sixth_line_level_1(uint8_t x, uint8_t y){
	sprintf(tx_buffer, "Time is %d :%d :%d          ", Hours, Minutes, Seconds);
	GMG12864_Decode_UTF8(x, y, 1, inversion_off, tx_buffer);
	GMG12864_Update();
}

void GMG12864_first_line_level_2(uint8_t x, uint8_t y){
	sprintf(tx_buffer, "SD CARD Parameters     ");
	GMG12864_Decode_UTF8(x, y, 1, inversion_off, tx_buffer);
	GMG12864_Update();
}

void GMG12864_second_line_level_2(uint8_t x, uint8_t y){
	sprintf(tx_buffer, "Counter SD %d          ", counter_sd_card);
	GMG12864_Decode_UTF8(x, y, 1, inversion_off, tx_buffer);
	GMG12864_Update();
}

void GMG12864_third_line_level_2(uint8_t x, uint8_t y){
	sprintf(tx_buffer, "Timer low charge %d", tim7_counter);
	GMG12864_Decode_UTF8(x, y, 1, inversion_off, tx_buffer);
	GMG12864_Update();
}

void GMG12864_fourth_line_level_2(uint8_t x, uint8_t y){
	sprintf(tx_buffer, "Min. time = %d          ", discharge_time_min);
	GMG12864_Decode_UTF8(x, y, 1, inversion_off, tx_buffer);
	GMG12864_Update();
}

void GMG12864_fifth_line_level_2(uint8_t x, uint8_t y){
	sprintf(tx_buffer, "Max. time = &d           ", discharge_time_max);
	GMG12864_Decode_UTF8(x, y, 1, inversion_off, tx_buffer);
	GMG12864_Update();
}

void GMG12864_sixth_line_level_2(uint8_t x, uint8_t y){
	sprintf(tx_buffer, "Time is %d : %d : %d                ", Hours, Minutes, Seconds);
	GMG12864_Decode_UTF8(x, y, 1, inversion_off, tx_buffer);
	GMG12864_Update();
}

void GMG12864_first_line_level_3(uint8_t x, uint8_t y){
	sprintf(tx_buffer, "DS3231 Parameters            ");
	GMG12864_Decode_UTF8(x, y, 1, inversion_off, tx_buffer);
	GMG12864_Update();
}

void GMG12864_second_line_level_3(uint8_t x, uint8_t y){
	sprintf(tx_buffer, "Time is %d : %d : %d                ", Hours, Minutes, Seconds);
	GMG12864_Decode_UTF8(x, y, 1, inversion_off, tx_buffer);
	GMG12864_Update();
}

void GMG12864_third_line_level_3(uint8_t x, uint8_t y){
	sprintf(tx_buffer, "Temp. DS3231 %.1f                ", max_ds3231_temp);
	GMG12864_Decode_UTF8(x, y, 1, inversion_off, tx_buffer);
	GMG12864_Update();
}

void GMG12864_fourth_line_level_3(uint8_t x, uint8_t y){
	sprintf(tx_buffer, "Day %d                ", Day);
	GMG12864_Decode_UTF8(x, y, 1, inversion_off, tx_buffer);
	GMG12864_Update();
}

void GMG12864_fifth_line_level_3(uint8_t x, uint8_t y){
	sprintf(tx_buffer, "Date %d              ", Date);
	GMG12864_Decode_UTF8(x, y, 1, inversion_off, tx_buffer);
	GMG12864_Update();
}

void GMG12864_sixth_line_level_3(uint8_t x, uint8_t y){
	sprintf(tx_buffer, "Month %d             ", Month);
	GMG12864_Decode_UTF8(x, y, 1, inversion_off, tx_buffer);
	GMG12864_Update();
}

void sd_card_write(){
	if(HAL_GetTick() - t_sd_card > 1000){
		t_sd_card_ex_time_start = HAL_GetTick();
		if((fresult = f_open(&fil, "parameters.txt", FA_OPEN_ALWAYS | FA_WRITE)) == FR_OK){
			t_sd_card = HAL_GetTick();
			sprintf(buffer_sd_card, "SD CARD OK!         ");
			fresult = f_lseek(&fil, fil.fsize);
			fresult = f_puts("DATA!!!/n", &fil);
			fresult = f_close(&fil);
			counter_sd_card += 1;
			SET_BIT(GPIOA->BSRR, GPIO_BSRR_BR_5);
		}
		else if((fresult = f_open(&fil, "parameters.txt", FA_OPEN_ALWAYS | FA_WRITE)) == FR_DISK_ERR){
			t_sd_card = HAL_GetTick();
			sprintf(buffer_sd_card, "SD CARD not detected!     ");
			SET_BIT(GPIOA->BSRR, GPIO_BSRR_BS_5);
		}
		else{
			t_sd_card = HAL_GetTick();
			sprintf(buffer_sd_card, "SD CARD not communicate!!!    ");
			SET_BIT(GPIOA->BSRR, GPIO_BSRR_BS_5);
		}
		t_sd_card_ex_time_stop = HAL_GetTick();
		sd_card_execution_time = t_sd_card_ex_time_stop - t_sd_card_ex_time_start;
	}
}

void ds3231_get_time_and_temp(){
	if(HAL_GetTick() - t_ds3231 > 1000){
		t_ds3231 = HAL_GetTick();
		max_ds3231_get_time();
		max_ds3231_get_temperature();
	}
}

float get_current_ASC712(){
	if(adc_flag){
		if((state_high_charge == 0) && (state_low_charge == 0) && (state_discharge == 0)){
			adc_flag = 0;
			float Current = 0.0f;
			RawVoltage = (float)ADC_SMA_Data_1 * 3.4f * 2.0f / (float)ADC_MAX;
			return Current = (RawVoltage - 2.43f) / Sensitivity;
		}
		else{
			adc_flag = 0;
			float Current = 0.0f;
			RawVoltage = (float)ADC_SMA_Data_1 * 3.4f * 2.0f / (float)ADC_MAX;
			return Current = (RawVoltage - 2.37f) / Sensitivity;
		}
	}
	else{
		return 0;
	}
}

void tim7_start(){
	HAL_TIM_Base_Start_IT(&htim7);
}

void tim7_stop(){
	HAL_TIM_Base_Stop_IT(&htim7);
	TIM7->CNT = 0;
}

void get_capacity_of_battery(){
	if(capacity_flag){
		time_of_discharge_in_min = ((time_stop - time_start) / 1000) / 60;
		if(time_of_discharge_in_min > discharge_time_max){
			discharge_time_max = time_of_discharge_in_min;
		}
		else if(time_of_discharge_in_min < discharge_time_min){
			discharge_time_min = time_of_discharge_in_min;
		}
		time_discharge = ((time_stop - time_start) / (float)1000) / 60;
		capacity = 120 * ((float)time_discharge * (float)0.000000277) / (6 * (float)0.7);
		capacity_flag = 0;
	}
}
void start_capacity_timer(){
	if(capacity_timer_flag_1){
		time_start = HAL_GetTick();
		capacity_timer_flag_1 = 0;
	}
}

void stop_capacity_timer(){
	time_stop = HAL_GetTick();
}
/* USER CODE END 4 */

void Error_Handler(void)
{
  __disable_irq();
  while (1)
  {
  }
}
